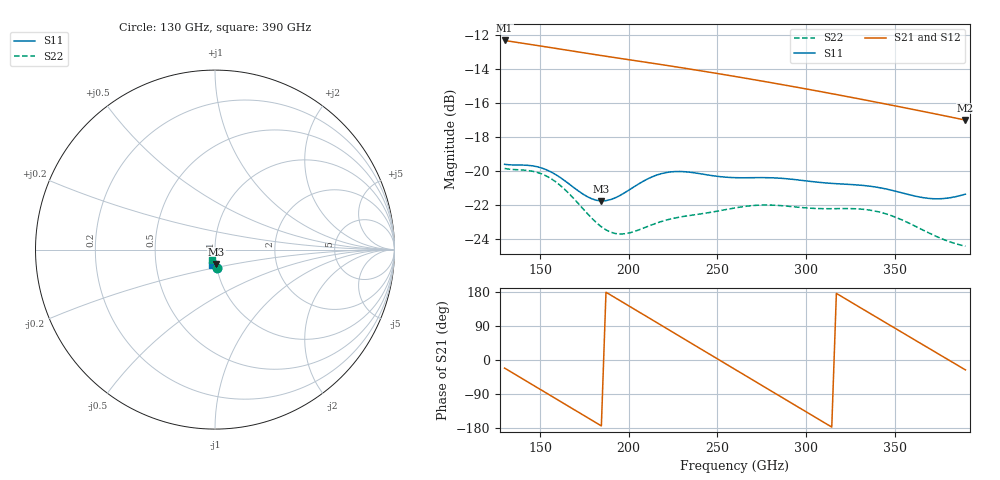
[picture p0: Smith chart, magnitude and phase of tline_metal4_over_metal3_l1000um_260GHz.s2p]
#  GHZ S DB R 50
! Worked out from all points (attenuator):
!   101 points, 130 GHz to 390 GHz, reference 50 ohm
!   highest |S21| = -12.34 dB at 130 GHz (marker M1); lowest = -17.0 dB at 390 GHz (marker M2)
!   lowest |S11| = -21.8 dB at 184.6 GHz (marker M3), VSWR 1.18, Z = 50.1 - j8.19 ohm
!   |S11| at or under -10 dB: start of sweep to end of sweep
!   |S22| runs from -24.4 to -19.9 dB; largest |S21 - S12| = 2.7e-13
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130  -19.62 -84.8  -12.34 -21.4  -12.34 -21.4  -19.86 -84.9
143  -19.68 -85.0  -12.55 -57.7  -12.55 -57.7  -19.98 -85.9
153.4  -19.93 -87.8  -12.71 -86.8  -12.71 -86.8  -20.30 -89.8
163.8  -20.57 -90.1  -12.88 -115.8  -12.88 -115.8  -21.08 -93.8
174.2  -21.37 -89.1  -13.05 -144.9  -13.05 -144.9  -22.23 -95.0
184.6  -21.77 -84.8  -13.22 -173.9  -13.22 -173.9  -23.29 -91.8
192.4  -21.59 -81.4  -13.35 164.3  -13.35 164.3  -23.68 -87.4
202.8  -20.96 -79.9  -13.51 135.2  -13.51 135.2  -23.58 -82.4
218.4  -20.17 -83.8  -13.75 91.6  -13.75 91.6  -22.98 -80.5
228.8  -20.04 -87.7  -13.92 62.5  -13.92 62.5  -22.72 -81.3
241.8  -20.19 -91.5  -14.14 26.1  -14.14 26.1  -22.51 -82.6
260  -20.40 -94.2  -14.45 -24.7  -14.45 -24.7  -22.18 -85.2
270.4  -20.40 -95.6  -14.64 -53.8  -14.64 -53.8  -22.04 -87.7
280.8  -20.41 -97.5  -14.83 -82.8  -14.83 -82.8  -22.02 -90.5
291.2  -20.49 -99.4  -15.02 -111.8  -15.02 -111.8  -22.10 -93.0
304.2  -20.64 -101.3  -15.26 -148.1  -15.26 -148.1  -22.21 -95.3
322.4  -20.79 -103.3  -15.62 161.3  -15.62 161.3  -22.22 -98.8
335.4  -20.90 -105.1  -15.88 125.2  -15.88 125.2  -22.30 -102.5
348.4  -21.14 -106.6  -16.14 89.1  -16.14 89.1  -22.64 -106.5
358.8  -21.42 -106.9  -16.36 60.2  -16.36 60.2  -23.11 -108.8
371.8  -21.64 -105.4  -16.63 24.2  -16.63 24.2  -23.77 -109.7
390  -21.37 -102.8  -17.02 -26.1  -17.02 -26.1  -24.43 -107.8
